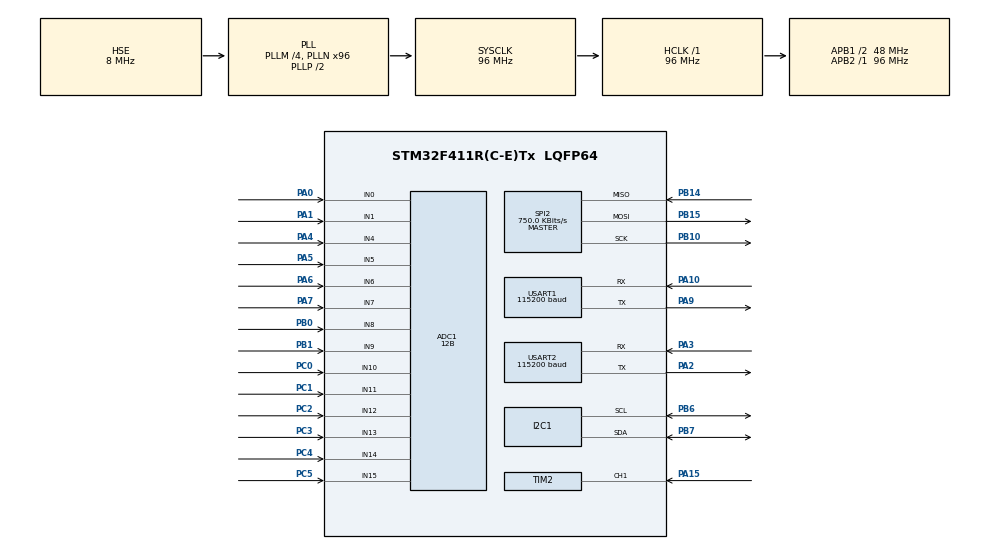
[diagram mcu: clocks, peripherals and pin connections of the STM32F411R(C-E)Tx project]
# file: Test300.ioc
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ADC1.Channel-0\#ChannelRegularConversion=ADC_CHANNEL_0
ADC1.Channel-1\#ChannelRegularConversion=ADC_CHANNEL_1
ADC1.Channel-2\#ChannelRegularConversion=ADC_CHANNEL_4
ADC1.Channel-3\#ChannelRegularConversion=ADC_CHANNEL_5
ADC1.Channel-4\#ChannelRegularConversion=ADC_CHANNEL_6
ADC1.Channel-5\#ChannelRegularConversion=ADC_CHANNEL_7
ADC1.Channel-6\#ChannelRegularConversion=ADC_CHANNEL_8
ADC1.Channel-7\#ChannelRegularConversion=ADC_CHANNEL_10
ADC1.Channel-8\#ChannelRegularConversion=ADC_CHANNEL_11
ADC1.Channel-9\#ChannelRegularConversion=ADC_CHANNEL_TEMPSENSOR
ADC1.ClockPrescaler=ADC_CLOCK_SYNC_PCLK_DIV8
ADC1.ContinuousConvMode=DISABLE
ADC1.DMAContinuousRequests=ENABLE
ADC1.DataAlign=ADC_DATAALIGN_RIGHT
ADC1.DiscontinuousConvMode=DISABLE
ADC1.EOCSelection=ADC_EOC_SEQ_CONV
ADC1.EnableAnalogWatchDog=false
ADC1.ExternalTrigConv=ADC_SOFTWARE_START
ADC1.ExternalTrigConvEdge=ADC_EXTERNALTRIGCONVEDGE_NONE
ADC1.InjNumberOfConversion=0
ADC1.NbrOfConversion=10
ADC1.NbrOfConversionFlag=1
ADC1.Rank-0\#ChannelRegularConversion=1
ADC1.Rank-1\#ChannelRegularConversion=2
ADC1.Rank-2\#ChannelRegularConversion=3
ADC1.Rank-3\#ChannelRegularConversion=4
ADC1.Rank-4\#ChannelRegularConversion=5
ADC1.Rank-5\#ChannelRegularConversion=6
ADC1.Rank-6\#ChannelRegularConversion=7
ADC1.Rank-7\#ChannelRegularConversion=8
ADC1.Rank-8\#ChannelRegularConversion=9
ADC1.Rank-9\#ChannelRegularConversion=10
ADC1.Resolution=ADC_RESOLUTION_12B
ADC1.SamplingTime-0\#ChannelRegularConversion=ADC_SAMPLETIME_56CYCLES
ADC1.SamplingTime-1\#ChannelRegularConversion=ADC_SAMPLETIME_56CYCLES
ADC1.SamplingTime-2\#ChannelRegularConversion=ADC_SAMPLETIME_56CYCLES
ADC1.SamplingTime-3\#ChannelRegularConversion=ADC_SAMPLETIME_56CYCLES
ADC1.SamplingTime-4\#ChannelRegularConversion=ADC_SAMPLETIME_56CYCLES
ADC1.SamplingTime-5\#ChannelRegularConversion=ADC_SAMPLETIME_56CYCLES
ADC1.SamplingTime-6\#ChannelRegularConversion=ADC_SAMPLETIME_56CYCLES
ADC1.SamplingTime-7\#ChannelRegularConversion=ADC_SAMPLETIME_56CYCLES
ADC1.SamplingTime-8\#ChannelRegularConversion=ADC_SAMPLETIME_56CYCLES
ADC1.SamplingTime-9\#ChannelRegularConversion=ADC_SAMPLETIME_56CYCLES
ADC1.ScanConvMode=ENABLE
ADC1.master=1
Dma.ADC1.0.Direction=DMA_PERIPH_TO_MEMORY
Dma.ADC1.0.FIFOMode=DMA_FIFOMODE_DISABLE
Dma.ADC1.0.Instance=DMA2_Stream0
Dma.ADC1.0.MemDataAlignment=DMA_MDATAALIGN_HALFWORD
Dma.ADC1.0.MemInc=DMA_MINC_ENABLE
Dma.ADC1.0.Mode=DMA_NORMAL
Dma.ADC1.0.PeriphDataAlignment=DMA_PDATAALIGN_HALFWORD
Dma.ADC1.0.PeriphInc=DMA_PINC_DISABLE
Dma.ADC1.0.Priority=DMA_PRIORITY_LOW
Dma.Request0=ADC1
Dma.Request1=USART2_TX
Dma.USART2_TX.1.Direction=DMA_MEMORY_TO_PERIPH
Dma.USART2_TX.1.FIFOMode=DMA_FIFOMODE_DISABLE
Dma.USART2_TX.1.Instance=DMA1_Stream6
Dma.USART2_TX.1.MemDataAlignment=DMA_MDATAALIGN_BYTE
Dma.USART2_TX.1.MemInc=DMA_MINC_ENABLE
Dma.USART2_TX.1.Mode=DMA_NORMAL
Dma.USART2_TX.1.PeriphDataAlignment=DMA_PDATAALIGN_BYTE
Dma.USART2_TX.1.PeriphInc=DMA_PINC_DISABLE
Dma.USART2_TX.1.Priority=DMA_PRIORITY_LOW
Mcu.Family=STM32F4
Mcu.Name=STM32F411R(C-E)Tx
Mcu.Package=LQFP64
NVIC.DMA1_Stream6_IRQn=true\:0\:0\:false\:false\:true
NVIC.DMA2_Stream0_IRQn=true\:0\:0\:false\:false\:true
NVIC.PriorityGroup=NVIC_PRIORITYGROUP_4
NVIC.TIM2_IRQn=true\:0\:0\:false\:false\:true
NVIC.USART2_IRQn=true\:0\:0\:false\:false\:true
PA0-WKUP.Signal=ADCx_IN0
PA1.Signal=ADCx_IN1
PA10.Mode=Asynchronous
PA10.Signal=USART1_RX
PA15.Signal=S_TIM2_CH1_ETR
PA2.Mode=Asynchronous
PA2.Signal=USART2_TX
PA3.Mode=Asynchronous
PA3.Signal=USART2_RX
PA4.Signal=ADCx_IN4
PA5.Signal=ADCx_IN5
PA6.Signal=ADCx_IN6
PA7.Signal=ADCx_IN7
PA9.Mode=Asynchronous
PA9.Signal=USART1_TX
PB0.Signal=ADCx_IN8
PB1.Signal=ADCx_IN9
PB10.Mode=Full_Duplex_Master
PB10.Signal=SPI2_SCK
PB14.Mode=Full_Duplex_Master
PB14.Signal=SPI2_MISO
PB15.Mode=Full_Duplex_Master
PB15.Signal=SPI2_MOSI
PB6.Mode=I2C
PB6.Signal=I2C1_SCL
PB7.Mode=I2C
PB7.Signal=I2C1_SDA
PC0.Signal=ADCx_IN10
PC1.Signal=ADCx_IN11
PC2.Signal=ADCx_IN12
PC3.Signal=ADCx_IN13
PC4.Signal=ADCx_IN14
PC5.Signal=ADCx_IN15
PH0\ -\ OSC_IN.Mode=HSE-External-Oscillator
PH0\ -\ OSC_IN.Signal=RCC_OSC_IN
PH1\ -\ OSC_OUT.Mode=HSE-External-Oscillator
PH1\ -\ OSC_OUT.Signal=RCC_OSC_OUT
ProjectManager.HeapSize=0x200
ProjectManager.StackSize=0x400
ProjectManager.TargetToolchain=SW4STM32
RCC.48MHZClocksFreq_Value=48000000
RCC.AHBFreq_Value=96000000
RCC.APB1CLKDivider=RCC_HCLK_DIV2
RCC.APB1Freq_Value=48000000
RCC.APB1TimFreq_Value=96000000
RCC.APB2Freq_Value=96000000
RCC.APB2TimFreq_Value=96000000
RCC.CortexFreq_Value=96000000
RCC.HCLKFreq_Value=96000000
RCC.HSE_VALUE=8000000
RCC.HSI_VALUE=16000000
RCC.LSE_VALUE=32768
RCC.PLLM=4
RCC.PLLN=96
RCC.PLLSourceVirtual=RCC_PLLSOURCE_HSE
RCC.SYSCLKFreq_VALUE=96000000
RCC.SYSCLKSource=RCC_SYSCLKSOURCE_PLLCLK
RCC.VCOOutputFreq_Value=192000000
SH.ADCx_IN0.0=ADC1_IN0,IN0
SH.ADCx_IN1.0=ADC1_IN1,IN1
SH.ADCx_IN10.0=ADC1_IN10,IN10
SH.ADCx_IN11.0=ADC1_IN11,IN11
SH.ADCx_IN12.0=ADC1_IN12,IN12
SH.ADCx_IN13.0=ADC1_IN13,IN13
SH.ADCx_IN14.0=ADC1_IN14,IN14
SH.ADCx_IN15.0=ADC1_IN15,IN15
SH.ADCx_IN4.0=ADC1_IN4,IN4
SH.ADCx_IN5.0=ADC1_IN5,IN5
SH.ADCx_IN6.0=ADC1_IN6,IN6
SH.ADCx_IN7.0=ADC1_IN7,IN7
SH.ADCx_IN8.0=ADC1_IN8,IN8
SH.ADCx_IN9.0=ADC1_IN9,IN9
SH.S_TIM2_CH1_ETR.0=TIM2_CH1,TriggerSource_TI1FP1
SH.S_TIM2_CH1_ETR.1=TIM2_CH1,Input_Capture1_from_TI1
SPI2.BaudRatePrescaler=SPI_BAUDRATEPRESCALER_64
SPI2.CalculateBaudRate=750.0 KBits/s
SPI2.Direction=SPI_DIRECTION_2LINES
SPI2.Mode=SPI_MODE_MASTER
SPI2.VirtualType=VM_MASTER
TIM2.Channel-Input_Capture1_from_TI1=TIM_CHANNEL_1
TIM2.ICFilter_CH1=3
TIM2.ICPolarity_CH1=TIM_INPUTCHANNELPOLARITY_RISING
TIM2.ICPrescaler-Input_Capture1_from_TI1=TIM_ICPSC_DIV1
TIM2.Period=69000000
TIM2.TIM_MasterOutputTrigger=TIM_TRGO_RESET
USART1.BaudRate=115200
USART1.VirtualMode=VM_ASYNC
USART2.BaudRate=115200
USART2.VirtualMode=VM_ASYNC
VP_ADC1_TempSens_Input.Mode=IN-TempSens
VP_TIM2_VS_ClockSourceINT.Mode=Internal
VP_TIM2_VS_ControllerModeReset.Mode=Reset Mode
board=Test300

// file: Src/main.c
/**
  ******************************************************************************
  * File Name          : main.c
  * Description        : Main program body
  ******************************************************************************
  ** This notice applies to any and all portions of this file
  * that are not between comment pairs USER CODE BEGIN and
  * USER CODE END. Other portions of this file, whether
  * inserted by the user or by software development tools
  * are owned by their respective copyright owners.
  *
  * COPYRIGHT(c) 2017 STMicroelectronics
  *
  * Redistribution and use in source and binary forms, with or without modification,
  * are permitted provided that the following conditions are met:
  *   1. Redistributions of source code must retain the above copyright notice,
  *      this list of conditions and the following disclaimer.
  *   2. Redistributions in binary form must reproduce the above copyright notice,
  *      this list of conditions and the following disclaimer in the documentation
  *      and/or other materials provided with the distribution.
  *   3. Neither the name of STMicroelectronics nor the names of its contributors
  *      may be used to endorse or promote products derived from this software
  *      without specific prior written permission.
  *
  * THIS SOFTWARE IS PROVIDED BY THE COPYRIGHT HOLDERS AND CONTRIBUTORS "AS IS"
  * AND ANY EXPRESS OR IMPLIED WARRANTIES, INCLUDING, BUT NOT LIMITED TO, THE
  * IMPLIED WARRANTIES OF MERCHANTABILITY AND FITNESS FOR A PARTICULAR PURPOSE ARE
  * DISCLAIMED. IN NO EVENT SHALL THE COPYRIGHT HOLDER OR CONTRIBUTORS BE LIABLE
  * FOR ANY DIRECT, INDIRECT, INCIDENTAL, SPECIAL, EXEMPLARY, OR CONSEQUENTIAL
  * DAMAGES (INCLUDING, BUT NOT LIMITED TO, PROCUREMENT OF SUBSTITUTE GOODS OR
  * SERVICES; LOSS OF USE, DATA, OR PROFITS; OR BUSINESS INTERRUPTION) HOWEVER
  * CAUSED AND ON ANY THEORY OF LIABILITY, WHETHER IN CONTRACT, STRICT LIABILITY,
  * OR TORT (INCLUDING NEGLIGENCE OR OTHERWISE) ARISING IN ANY WAY OUT OF THE USE
  * OF THIS SOFTWARE, EVEN IF ADVISED OF THE POSSIBILITY OF SUCH DAMAGE.
  *
  ******************************************************************************
  */
#include "main.h"
#include "stm32f4xx_hal.h"

/* USER CODE BEGIN Includes */
#include "math.h"
#include  <sys/unistd.h>
#include <errno.h>
#include "StdIoConnector.h"
#include "Statistics.h"
#include "ArduinoPins.h"
#include "DataAquisition.h"
#include "VT100.h"

/* USER CODE END Includes */

ADC_HandleTypeDef hadc1;
DMA_HandleTypeDef hdma_adc1;

I2C_HandleTypeDef hi2c1;

SPI_HandleTypeDef hspi2;

TIM_HandleTypeDef htim2;

UART_HandleTypeDef huart1;
UART_HandleTypeDef huart2;
DMA_HandleTypeDef hdma_usart2_tx;

/* USER CODE BEGIN PV */
/* Private variables ---------------------------------------------------------*/
uint8_t spi_out[12] = { 0x06, 0x00, 0x00,  0x06, 0x40, 0x00,  0x06, 0x80, 0x00,  0x06, 0xc0, 0x00}; // ch0-ch3 in single ended mode
uint8_t spi_in[12];

double tAmb = 25.0;		// Umgebungstemperatur
double uSupp5 = 5.0;	// Versorgungsspannung 5.0 V

struct TDAQU_HIH8000_result hih8000_result;
HAL_StatusTypeDef hih8000_status;

volatile uint32_t counter_2_1 = 0; // counter 2, channel 1
volatile uint8_t  trigger_detected = 0;

/* USER CODE END PV */

void SystemClock_Config(void);
static void MX_GPIO_Init(void);
static void MX_DMA_Init(void);
static void MX_USART2_UART_Init(void);
static void MX_ADC1_Init(void);
static void MX_SPI2_Init(void);
static void MX_I2C1_Init(void);
static void MX_TIM2_Init(void);
static void MX_USART1_UART_Init(void);

/* USER CODE BEGIN PFP */
/* Private function prototypes -----------------------------------------------*/

/* USER CODE END PFP */

int main(void)
{

  /* MCU Configuration----------------------------------------------------------*/

  /* Reset of all peripherals, Initializes the Flash interface and the Systick. */
  HAL_Init();

  /* Configure the system clock */
  SystemClock_Config();

  /* Initialize all configured peripherals */
  MX_GPIO_Init();
  MX_DMA_Init();
  MX_USART2_UART_Init();
  MX_ADC1_Init();
  MX_SPI2_Init();
  MX_I2C1_Init();
  MX_TIM2_Init();
  MX_USART1_UART_Init();

  /* USER CODE BEGIN 2 */

  GPIO_InitTypeDef itd;

  // some common setting for output pins:
  itd.Mode = GPIO_MODE_OUTPUT_PP;
  itd.Pull = GPIO_NOPULL;
  itd.Speed = GPIO_SPEED_HIGH;

  // LED
  itd.Pin = LED_PIN;
  HAL_GPIO_Init(LED_PORT,&itd);

  // PB2: !CS for MCP3204 (12 bit ADC)
  itd.Pin = CS_3204_PIN;
  HAL_GPIO_Init(CS_3204_PORT,&itd);

  // deselect MCP3204
  HAL_GPIO_WritePin(CS_3204_PORT,CS_3204_PIN,GPIO_PIN_SET);

  // some common settings for input pins
  itd.Mode = GPIO_MODE_INPUT;
  itd.Pull = GPIO_NOPULL;
  itd.Speed = GPIO_SPEED_HIGH;

  // User-Key
  itd.Pin = USER_KEY_PIN;
  HAL_GPIO_Init(USER_KEY_PORT,&itd);

  STDIOC_init(&huart2,&hdma_usart2_tx);
  STDIOC_initDiag(&huart1);

  VT100EraseScreen();
  VT100CursorHome();

  printf("The quick brown fox jumps over the lazy dog back\r\n");

  HAL_Delay(3000);
  VT100EraseScreen();
  VT100CursorHome();

/* Pinbelegung
 *
 * Funktion   Arduino           morpho
 * IN0:	PA0 - CN8-1 (A0)		CN7-28 (PA0)
 * IN1:	PA1 - CN8-2 (A1)		CN7-30 (PA1)
 * IN4:	PA4 - CN8-3 (A2)		CN7-32 (PA4)
 * IN5: PA5 - CN5-6 (D13)		CN10-11 (PA5)
 * IN6: PA6 - CN5-5 (D12)		CN10-13 (PA6)
 * IN7:	PA7 - CN5-4 (D11)		CN10-15 (PA7)
 * IN8:	PB0 - CN8-4 (A3)		CN7-34 (PB0)
 * IN9: PB1						CN10-24 (PB1)
 * IN10:PC0 - CN8-6 (A5)		CN7-38 (PC0/PB8)
 * IN11:PC1 - CN8-5 (A4)		CN7-36 (PC1/PB9)
 * IN12:PC2						CN7-35 (PC2)
 * IN13:PC3						CN7-37 (PC3)
 * IN14:PC4						CN10-34 (PC4)
 * IN15:PC5						CN10-6 (PC5)
 *
 * Project Setup: http://www.openstm32.org/Importing+a+STCubeMX+generated+project
 *
 */

  TStat st[N_CHANNELS];
  TStat st3204[4];
  uint8_t row;

  /* USER CODE END 2 */

  /* Infinite loop */
  /* USER CODE BEGIN WHILE */
  while (1)
  {
	  int i;

	  GPIO_PinState x = HAL_GPIO_ReadPin(USER_KEY_PORT,USER_KEY_PIN);
//	  HAL_GPIO_WritePin(GPIOA,GPIO_PIN_5,x);
//	  HAL_GPIO_TogglePin(LED_PORT,LED_PIN);

	  hih8000_status = DAQU_start_HIH8000(&hi2c1);

	  HAL_StatusTypeDef rc = DAQU_startADC(&hadc1, N_ITERATIONS, N_CHANNELS, st);
	  if (rc!=0) DAQU_printErrorInfo(rc);

	  for(i=0; i<4; i++) STAT_init(&st3204[i]);
	  // select MCP3204, external ADC
	  for (uint16_t i_iter=0; i_iter<N_ITERATIONS; i_iter++) {
		  for (i=0; i<4; i++) {
			  HAL_GPIO_WritePin(CS_3204_PORT,CS_3204_PIN,GPIO_PIN_RESET);
			  HAL_StatusTypeDef rc1 = HAL_SPI_TransmitReceive(&hspi2, &spi_out[3*i], &spi_in[3*i], 3, 100);
			  HAL_GPIO_WritePin(CS_3204_PORT,CS_3204_PIN,GPIO_PIN_SET);
			  if (rc==HAL_OK) {
				  uint16_t y = ((((uint16_t)spi_in[1+3*i])<<8)|spi_in[2+3*i]) & 0x0fff;
				  STAT_add(&st3204[i],y);
			  	  }
			  else DAQU_printErrorInfo(rc1);
		  	  }
	  	  }

	  if (hih8000_status==HAL_OK) {
		  hih8000_status = DAQU_read_HIH8000(&hi2c1,&hih8000_result);
	  	  }

	  row = 1;
	  VT100CursorGoto(row,1);
	  printf("32F411 - ch0 - 1.22 V:");
	  VT100CursorGoto(row,25);
	  STAT_print(&st[0]);						// STM32F411re - ch0 - cnts
	  VT100CursorGoto(row,50);
	  STAT_printVolt(&st[0],3.3,4096);			// STM32F411re - ch0 - Volt

	  row++;
	  VT100CursorGoto(row,1);
	  printf("3204   - ch0 - 1.22 V:");
	  VT100CursorGoto(row,25);
	  STAT_print(&st3204[0]);					// MCP3204     - ch0 - cnts
	  VT100CursorGoto(row,50);
	  STAT_printVolt(&st3204[0],3.0,4096);		// MCP3204     - ch0 - Volt

	  row++;
	  VT100CursorGoto(row,1);
	  printf("32F411 - ch1 - 3.0 V:");
	  VT100CursorGoto(row,25);
	  STAT_print(&st[1]);						// STM32F411re - ch1 - cnts (gemessene Referenz vom MCP3204)
	  VT100CursorGoto(row,50);
	  STAT_printVolt(&st[1],3.3,4096);			// STM32F411re - ch1 - Volt (gemessene Referenz vom MCP3204)

	  row++;
	  VT100CursorGoto(row,1);
	  printf("3204   - ch2 - 5 V:");
	  VT100CursorGoto(row,25);
	  STAT_print(&st3204[2]);					// MCP3204     - ch2 - cnts - 5 V
	  VT100CursorGoto(row,50);
	  uSupp5 = STAT_printVolt(&st3204[2],3.0*8.0/4.7,4096);		// MCP3204     - ch2 - Volt

	  row += 2;
	  VT100CursorGoto(row,1);
	  printf("32F411 - ch4:");
	  VT100CursorGoto(row,25);
	  STAT_print(&st[2]);						// STM32F411re - ch4 - cnts
	  VT100CursorGoto(row,50);
	  STAT_printVolt(&st[2],3.3,4096);			// STM32F411re - ch4 - Volt

	  row++;
	  VT100CursorGoto(row,1);
	  printf("32F411 - ch4 - RH:");
	  VT100CursorGoto(row,50);
	  STAT_printRH(&st[2], 3.3, uSupp5, tAmb);		// STM32F411re - ch4 - RH (via HIH4000)

	  row++;
	  VT100CursorGoto(row,1);
	  printf("3204   - ch3:");
	  VT100CursorGoto(row,25);
	  STAT_print(&st3204[3]);					// MCP3204     - ch3 - cnts - 5 V
	  VT100CursorGoto(row,50);
	  STAT_printVolt(&st3204[3],3.0,4096);		// MCP3204     - ch3 - Volt

	  row++;
	  VT100CursorGoto(row,1);
	  printf("3204   - ch3 - RH:");
	  VT100CursorGoto(row,50);
	  STAT_printRH(&st3204[3], 3.0, uSupp5, tAmb);		// MCP3204     - ch3 - RH (via HIH4000)

/* irgendwie tut der nicht
	  row++;
	  VT100CursorGoto(row,1);
	  printf("32F411 - ch5 - 3.3V:");
	  VT100CursorGoto(row,25);
	  STAT_print(&st[3]);						// STM32F411re - ch5 - cnts
	  VT100CursorGoto(row,50);
	  STAT_printVolt(&st[3],3.3,4096);			// STM32F411re - ch5 - Volt
*/

	  row++;
	  VT100CursorGoto(row,1);
	  printf("32F411 - ch6:");
	  VT100CursorGoto(row,25);
	  STAT_print(&st[4]);						// STM32F411re - ch6 - cnts
	  VT100CursorGoto(row,50);
	  STAT_printVolt(&st[4],3.3,4096);			// STM32F411re - ch6 - Volt

	  row++;
	  VT100CursorGoto(row,1);
	  printf("32F411 - ch6 - LDR:");
	  VT100CursorGoto(row,50);
	  STAT_printLux(&st[4],uSupp5);				// STM32F411re - ch6 - LDR

	  row++;
	  VT100CursorGoto(row,1);
	  printf("32F411 - ch7 - 3.3 V");
	  VT100CursorGoto(row,25);
	  STAT_print(&st[5]);						// STM32F411re - ch7 - cnts
	  VT100CursorGoto(row,50);
	  STAT_printVolt(&st[5],3.3,4096);			// STM32F411re - ch7 - Volt
/*
	  row++;
	  VT100CursorGoto(row,1);
	  printf("32F411 - ch8:");
	  VT100CursorGoto(row,25);
	  STAT_print(&st[6]);						// STM32F411re - ch8 - cnts
	  VT100CursorGoto(row,50);
	  STAT_printVolt(&st[6],3.3,4096);			// STM32F411re - ch8 - Volt

	  row++;
	  VT100CursorGoto(row,1);
	  printf("32F411 - ch10:");
	  VT100CursorGoto(row,25);
	  STAT_print(&st[7]);						// STM32F411re - ch10 - cnts
	  VT100CursorGoto(row,50);
	  STAT_printVolt(&st[7],3.3,4096);			// STM32F411re - ch10 - Volt

	  row++;
	  VT100CursorGoto(row,1);
	  printf("32F411 - ch11:");
	  VT100CursorGoto(row,25);
	  STAT_print(&st[8]);						// STM32F411re - ch11 - cnts
	  VT100CursorGoto(row,50);
	  STAT_printVolt(&st[8],3.3,4096);			// STM32F411re - ch11 - Volt
*/

	  row++;
	  VT100CursorGoto(row,1);
	  printf("32F411 - ch9:");
	  VT100CursorGoto(row,25);
	  STAT_print(&st[9]);						// STM32F411re - ch9 - cnts
	  VT100CursorGoto(row,50);
	  STAT_printVolt(&st[9],3.3,4096);			// STM32F411re - ch9 - Volt

	  row++;
	  VT100CursorGoto(row,1);
	  printf("32F411 - ch9 - CPU-T:");
	  VT100CursorGoto(row,50);
	  STAT_printCpuTemperature(&st[9]);			// STM32F411re - Temperatur - deg C

	  row++;
	  VT100CursorGoto(row,1);
	  printf("3204   - ch1:");
	  VT100CursorGoto(row,25);
	  STAT_print(&st3204[1]);					// MCP3204     - ch1 - cnts
	  VT100CursorGoto(row,50);
	  STAT_printVolt(&st3204[1],3.0,4096);		// MCP3204     - ch1 - Volt

	  row++;
	  VT100CursorGoto(row,1);
	  printf("3204   - ch1 - T:");
	  VT100CursorGoto(row,50);
	  STAT_printPT1000Temperature(&st3204[1], uSupp5, 3.0);		// MCP3204     - ch1 - PT1000

	  if (hih8000_status==HAL_OK) {
		  row += 2;
		  VT100CursorGoto(row,1);
		  printf("HIH8000      - RH:");
		  VT100CursorGoto(row,50);
		  printf("%7.1f %%",DAQU_HIH8000_get_RelativeHumidity(&hih8000_result));

		  row++;
		  VT100CursorGoto(row,1);
		  printf("HIH8000      - T:");
		  VT100CursorGoto(row,50);
		  tAmb = DAQU_HIH8000_get_Temperature(&hih8000_result);
		  printf("%7.1f deg C",tAmb);

		  row++;
		  VT100CursorGoto(row,1);
		  printf("HIH8000      - DP:");
		  VT100CursorGoto(row,50);
		  printf("%7.1f deg C",DAQU_HIH8000_getDewPointTemperature(&hih8000_result));

	  	  }
	  else {
		  row += 3;
	  }
	  printf("\r\n");

	  printf("\r\n");

	  counter_2_1 = 0;
	  trigger_detected = 0;

//	  htim2.Instance->SR = 0;

	  rc = HAL_TIM_IC_Start_IT(&htim2, TIM_CHANNEL_1);

	  if (rc==0) {

		  uint32_t t = HAL_GetTick();
		  uint32_t dt;

		  do {
			  if (trigger_detected==2) {
//				  printf("trigger detected\r\n");
				  trigger_detected = 3;
			  	  }
		  	  dt = HAL_GetTick() - t;
		  	  } while (trigger_detected<11 && (dt<100));

		  uint16_t ov = STDIOC_getMaxOverflow();
		  if (dt<100) {
			  printf("cnt = %ld     ovr = %d\r\n",counter_2_1, ov);
			  double m = 12.90322580645162; // uT/us
			  double t = -151.9354838709678; // uT
			  double tcorr = 1.0/(0.015 + (10*96.0)/(double)counter_2_1);
			  double b = m * tcorr + t;

			  printf("T   = %6.3f us     Tcorr = %6.3f us     B = %7.3f uT\r\n",(double)counter_2_1/(10*96.0), tcorr, b );
		  	  }
		  else {
			  printf("Timeout - cnt = %ld     ovr = %d\r\n",htim2.Instance->CNT, ov);
		  	  }
	  	  }
	  else {
		  printf("Start error (rc = %d)\r\n", rc);
	  	  }

	  rc = HAL_TIM_IC_Stop_IT(&htim2, TIM_CHANNEL_1);
	  if (rc!=0) printf("Stop error (rc = %d)\r\n",rc);

	  if (x==GPIO_PIN_RESET) HAL_Delay(1000); else HAL_Delay(500);

	  uint32_t t, dt;

	  t = HAL_GetTick();
	  dt = 0;

	  while (dt<1000) {
		  STDIOC_idle();
		  dt = HAL_GetTick()-t;
	  	  }

  /* USER CODE END WHILE */

  }

}

/** System Clock Configuration
*/
void SystemClock_Config(void)
{

  RCC_OscInitTypeDef RCC_OscInitStruct;
  RCC_ClkInitTypeDef RCC_ClkInitStruct;

    /**Configure the main internal regulator output voltage
    */
  __HAL_RCC_PWR_CLK_ENABLE();

  __HAL_PWR_VOLTAGESCALING_CONFIG(PWR_REGULATOR_VOLTAGE_SCALE1);

    /**Initializes the CPU, AHB and APB busses clocks
    */
  RCC_OscInitStruct.OscillatorType = RCC_OSCILLATORTYPE_HSE;
  RCC_OscInitStruct.HSEState = RCC_HSE_ON;
  RCC_OscInitStruct.PLL.PLLState = RCC_PLL_ON;
  RCC_OscInitStruct.PLL.PLLSource = RCC_PLLSOURCE_HSE;
  RCC_OscInitStruct.PLL.PLLM = 4;
  RCC_OscInitStruct.PLL.PLLN = 96;
  RCC_OscInitStruct.PLL.PLLP = RCC_PLLP_DIV2;
  RCC_OscInitStruct.PLL.PLLQ = 4;
  if (HAL_RCC_OscConfig(&RCC_OscInitStruct) != HAL_OK)
  {
    _Error_Handler(__FILE__, __LINE__);
  }

    /**Initializes the CPU, AHB and APB busses clocks
    */
  RCC_ClkInitStruct.ClockType = RCC_CLOCKTYPE_HCLK|RCC_CLOCKTYPE_SYSCLK
                              |RCC_CLOCKTYPE_PCLK1|RCC_CLOCKTYPE_PCLK2;
  RCC_ClkInitStruct.SYSCLKSource = RCC_SYSCLKSOURCE_PLLCLK;
  RCC_ClkInitStruct.AHBCLKDivider = RCC_SYSCLK_DIV1;
  RCC_ClkInitStruct.APB1CLKDivider = RCC_HCLK_DIV2;
  RCC_ClkInitStruct.APB2CLKDivider = RCC_HCLK_DIV1;

  if (HAL_RCC_ClockConfig(&RCC_ClkInitStruct, FLASH_LATENCY_3) != HAL_OK)
  {
    _Error_Handler(__FILE__, __LINE__);
  }

    /**Configure the Systick interrupt time
    */
  HAL_SYSTICK_Config(HAL_RCC_GetHCLKFreq()/1000);

    /**Configure the Systick
    */
  HAL_SYSTICK_CLKSourceConfig(SYSTICK_CLKSOURCE_HCLK);

  /* SysTick_IRQn interrupt configuration */
  HAL_NVIC_SetPriority(SysTick_IRQn, 0, 0);
}

/* ADC1 init function */
static void MX_ADC1_Init(void)
{

  ADC_ChannelConfTypeDef sConfig;

    /**Configure the global features of the ADC (Clock, Resolution, Data Alignment and number of conversion)
    */
  hadc1.Instance = ADC1;
  hadc1.Init.ClockPrescaler = ADC_CLOCK_SYNC_PCLK_DIV8;
  hadc1.Init.Resolution = ADC_RESOLUTION_12B;
  hadc1.Init.ScanConvMode = ENABLE;
  hadc1.Init.ContinuousConvMode = DISABLE;
  hadc1.Init.DiscontinuousConvMode = DISABLE;
  hadc1.Init.ExternalTrigConvEdge = ADC_EXTERNALTRIGCONVEDGE_NONE;
  hadc1.Init.ExternalTrigConv = ADC_SOFTWARE_START;
  hadc1.Init.DataAlign = ADC_DATAALIGN_RIGHT;
  hadc1.Init.NbrOfConversion = 10;
  hadc1.Init.DMAContinuousRequests = ENABLE;
  hadc1.Init.EOCSelection = ADC_EOC_SEQ_CONV;
  if (HAL_ADC_Init(&hadc1) != HAL_OK)
  {
    _Error_Handler(__FILE__, __LINE__);
  }

    /**Configure for the selected ADC regular channel its corresponding rank in the sequencer and its sample time.
    */
  sConfig.Channel = ADC_CHANNEL_0;
  sConfig.Rank = 1;
  sConfig.SamplingTime = ADC_SAMPLETIME_56CYCLES;
  if (HAL_ADC_ConfigChannel(&hadc1, &sConfig) != HAL_OK)
  {
    _Error_Handler(__FILE__, __LINE__);
  }

    /**Configure for the selected ADC regular channel its corresponding rank in the sequencer and its sample time.
    */
  sConfig.Channel = ADC_CHANNEL_1;
  sConfig.Rank = 2;
  if (HAL_ADC_ConfigChannel(&hadc1, &sConfig) != HAL_OK)
  {
    _Error_Handler(__FILE__, __LINE__);
  }

    /**Configure for the selected ADC regular channel its corresponding rank in the sequencer and its sample time.
    */
  sConfig.Channel = ADC_CHANNEL_4;
  sConfig.Rank = 3;
  if (HAL_ADC_ConfigChannel(&hadc1, &sConfig) != HAL_OK)
  {
    _Error_Handler(__FILE__, __LINE__);
  }

    /**Configure for the selected ADC regular channel its corresponding rank in the sequencer and its sample time.
    */
  sConfig.Channel = ADC_CHANNEL_5;
  sConfig.Rank = 4;
  if (HAL_ADC_ConfigChannel(&hadc1, &sConfig) != HAL_OK)
  {
    _Error_Handler(__FILE__, __LINE__);
  }

    /**Configure for the selected ADC regular channel its corresponding rank in the sequencer and its sample time.
    */
  sConfig.Channel = ADC_CHANNEL_6;
  sConfig.Rank = 5;
  if (HAL_ADC_ConfigChannel(&hadc1, &sConfig) != HAL_OK)
  {
    _Error_Handler(__FILE__, __LINE__);
  }

    /**Configure for the selected ADC regular channel its corresponding rank in the sequencer and its sample time.
    */
  sConfig.Channel = ADC_CHANNEL_7;
  sConfig.Rank = 6;
  if (HAL_ADC_ConfigChannel(&hadc1, &sConfig) != HAL_OK)
  {
    _Error_Handler(__FILE__, __LINE__);
  }

    /**Configure for the selected ADC regular channel its corresponding rank in the sequencer and its sample time.
    */
  sConfig.Channel = ADC_CHANNEL_8;
  sConfig.Rank = 7;
  if (HAL_ADC_ConfigChannel(&hadc1, &sConfig) != HAL_OK)
  {
    _Error_Handler(__FILE__, __LINE__);
  }

    /**Configure for the selected ADC regular channel its corresponding rank in the sequencer and its sample time.
    */
  sConfig.Channel = ADC_CHANNEL_10;
  sConfig.Rank = 8;
  if (HAL_ADC_ConfigChannel(&hadc1, &sConfig) != HAL_OK)
  {
    _Error_Handler(__FILE__, __LINE__);
  }

    /**Configure for the selected ADC regular channel its corresponding rank in the sequencer and its sample time.
    */
  sConfig.Channel = ADC_CHANNEL_11;
  sConfig.Rank = 9;
  if (HAL_ADC_ConfigChannel(&hadc1, &sConfig) != HAL_OK)
  {
    _Error_Handler(__FILE__, __LINE__);
  }

    /**Configure for the selected ADC regular channel its corresponding rank in the sequencer and its sample time.
    */
  sConfig.Channel = ADC_CHANNEL_TEMPSENSOR;
  sConfig.Rank = 10;
  if (HAL_ADC_ConfigChannel(&hadc1, &sConfig) != HAL_OK)
  {
    _Error_Handler(__FILE__, __LINE__);
  }

}

/* I2C1 init function */
static void MX_I2C1_Init(void)
{

  hi2c1.Instance = I2C1;
  hi2c1.Init.ClockSpeed = 100000;
  hi2c1.Init.DutyCycle = I2C_DUTYCYCLE_2;
  hi2c1.Init.OwnAddress1 = 0;
  hi2c1.Init.AddressingMode = I2C_ADDRESSINGMODE_7BIT;
  hi2c1.Init.DualAddressMode = I2C_DUALADDRESS_DISABLE;
  hi2c1.Init.OwnAddress2 = 0;
  hi2c1.Init.GeneralCallMode = I2C_GENERALCALL_DISABLE;
  hi2c1.Init.NoStretchMode = I2C_NOSTRETCH_DISABLE;
  if (HAL_I2C_Init(&hi2c1) != HAL_OK)
  {
    _Error_Handler(__FILE__, __LINE__);
  }

}

/* SPI2 init function */
static void MX_SPI2_Init(void)
{

  hspi2.Instance = SPI2;
  hspi2.Init.Mode = SPI_MODE_MASTER;
  hspi2.Init.Direction = SPI_DIRECTION_2LINES;
  hspi2.Init.DataSize = SPI_DATASIZE_8BIT;
  hspi2.Init.CLKPolarity = SPI_POLARITY_LOW;
  hspi2.Init.CLKPhase = SPI_PHASE_1EDGE;
  hspi2.Init.NSS = SPI_NSS_SOFT;
  hspi2.Init.BaudRatePrescaler = SPI_BAUDRATEPRESCALER_64;
  hspi2.Init.FirstBit = SPI_FIRSTBIT_MSB;
  hspi2.Init.TIMode = SPI_TIMODE_DISABLE;
  hspi2.Init.CRCCalculation = SPI_CRCCALCULATION_DISABLE;
  hspi2.Init.CRCPolynomial = 10;
  if (HAL_SPI_Init(&hspi2) != HAL_OK)
  {
    _Error_Handler(__FILE__, __LINE__);
  }

}

/* TIM2 init function */
static void MX_TIM2_Init(void)
{

  TIM_ClockConfigTypeDef sClockSourceConfig;
  TIM_SlaveConfigTypeDef sSlaveConfig;
  TIM_MasterConfigTypeDef sMasterConfig;
  TIM_IC_InitTypeDef sConfigIC;

  htim2.Instance = TIM2;
  htim2.Init.Prescaler = 0;
  htim2.Init.CounterMode = TIM_COUNTERMODE_UP;
  htim2.Init.Period = 69000000;
  htim2.Init.ClockDivision = TIM_CLOCKDIVISION_DIV1;
  if (HAL_TIM_Base_Init(&htim2) != HAL_OK)
  {
    _Error_Handler(__FILE__, __LINE__);
  }

  sClockSourceConfig.ClockSource = TIM_CLOCKSOURCE_INTERNAL;
  if (HAL_TIM_ConfigClockSource(&htim2, &sClockSourceConfig) != HAL_OK)
  {
    _Error_Handler(__FILE__, __LINE__);
  }

  if (HAL_TIM_IC_Init(&htim2) != HAL_OK)
  {
    _Error_Handler(__FILE__, __LINE__);
  }

  sSlaveConfig.SlaveMode = TIM_SLAVEMODE_RESET;
  sSlaveConfig.InputTrigger = TIM_TS_TI1FP1;
  sSlaveConfig.TriggerPolarity = TIM_INPUTCHANNELPOLARITY_RISING;
  sSlaveConfig.TriggerFilter = 3;
  if (HAL_TIM_SlaveConfigSynchronization(&htim2, &sSlaveConfig) != HAL_OK)
  {
    _Error_Handler(__FILE__, __LINE__);
  }

  sMasterConfig.MasterOutputTrigger = TIM_TRGO_RESET;
  sMasterConfig.MasterSlaveMode = TIM_MASTERSLAVEMODE_DISABLE;
  if (HAL_TIMEx_MasterConfigSynchronization(&htim2, &sMasterConfig) != HAL_OK)
  {
    _Error_Handler(__FILE__, __LINE__);
  }

  sConfigIC.ICPolarity = TIM_INPUTCHANNELPOLARITY_RISING;
  sConfigIC.ICSelection = TIM_ICSELECTION_DIRECTTI;
  sConfigIC.ICPrescaler = TIM_ICPSC_DIV1;
  sConfigIC.ICFilter = 3;
  if (HAL_TIM_IC_ConfigChannel(&htim2, &sConfigIC, TIM_CHANNEL_1) != HAL_OK)
  {
    _Error_Handler(__FILE__, __LINE__);
  }

}

/* USART1 init function */
static void MX_USART1_UART_Init(void)
{

  huart1.Instance = USART1;
  huart1.Init.BaudRate = 115200;
  huart1.Init.WordLength = UART_WORDLENGTH_8B;
  huart1.Init.StopBits = UART_STOPBITS_1;
  huart1.Init.Parity = UART_PARITY_NONE;
  huart1.Init.Mode = UART_MODE_TX_RX;
  huart1.Init.HwFlowCtl = UART_HWCONTROL_NONE;
  huart1.Init.OverSampling = UART_OVERSAMPLING_16;
  if (HAL_UART_Init(&huart1) != HAL_OK)
  {
    _Error_Handler(__FILE__, __LINE__);
  }

}

/* USART2 init function */
static void MX_USART2_UART_Init(void)
{

  huart2.Instance = USART2;
  huart2.Init.BaudRate = 115200;
  huart2.Init.WordLength = UART_WORDLENGTH_8B;
  huart2.Init.StopBits = UART_STOPBITS_1;
  huart2.Init.Parity = UART_PARITY_NONE;
  huart2.Init.Mode = UART_MODE_TX_RX;
  huart2.Init.HwFlowCtl = UART_HWCONTROL_NONE;
  huart2.Init.OverSampling = UART_OVERSAMPLING_16;
  if (HAL_UART_Init(&huart2) != HAL_OK)
  {
    _Error_Handler(__FILE__, __LINE__);
  }

}

static void MX_DMA_Init(void)
{
  /* DMA controller clock enable */
  __HAL_RCC_DMA2_CLK_ENABLE();
  __HAL_RCC_DMA1_CLK_ENABLE();

  /* DMA interrupt init */
  /* DMA1_Stream6_IRQn interrupt configuration */
  HAL_NVIC_SetPriority(DMA1_Stream6_IRQn, 0, 0);
  HAL_NVIC_EnableIRQ(DMA1_Stream6_IRQn);
  /* DMA2_Stream0_IRQn interrupt configuration */
  HAL_NVIC_SetPriority(DMA2_Stream0_IRQn, 0, 0);
  HAL_NVIC_EnableIRQ(DMA2_Stream0_IRQn);

}

/** Configure pins as
        * Analog
        * Input
        * Output
        * EVENT_OUT
        * EXTI
*/
static void MX_GPIO_Init(void)
{

  /* GPIO Ports Clock Enable */
  __HAL_RCC_GPIOH_CLK_ENABLE();
  __HAL_RCC_GPIOC_CLK_ENABLE();
  __HAL_RCC_GPIOA_CLK_ENABLE();
  __HAL_RCC_GPIOB_CLK_ENABLE();

}

/* USER CODE BEGIN 4 */
//void HAL_TIM_PeriodElapsedCallback(TIM_HandleTypeDef *htim)  {
//	HAL_GPIO_TogglePin(D3_PORT,D3_PIN);
//	}

void HAL_TIM_IC_CaptureCallback(TIM_HandleTypeDef *htim) {
//	if (htim->Instance!=TIM2) return;
	if ((trigger_detected>=1) && (trigger_detected<=10))
		counter_2_1 += HAL_TIM_ReadCapturedValue(htim, TIM_CHANNEL_1);
	trigger_detected++;
	}
void HAL_TIM_TriggerCallback(TIM_HandleTypeDef *htim) {
//	trigger_detected++;
//	htim->Instance->SR &= ~0x04UL;
	}

/* USER CODE END 4 */

void _Error_Handler(char * file, int line)
{
  while(1)
  {
  }
}

/************************ (C) COPYRIGHT STMicroelectronics *****END OF FILE****/
